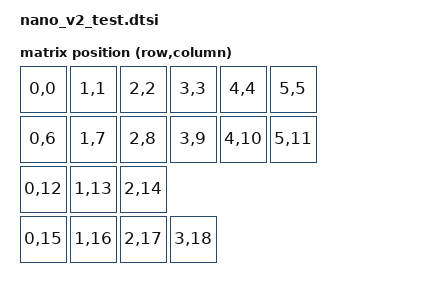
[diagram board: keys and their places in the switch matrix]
/*
 * Copyright (c) 2023 The ZMK Contributors
 *
 * SPDX-License-Identifier: MIT
 */

#include <dt-bindings/zmk/matrix_transform.h>
#include <dt-bindings/led/led.h>

/ {

    chosen {
        zmk,matrix-transform = &default_transform;
    };

    default_transform: keymap_transform_0 {
        compatible = "zmk,matrix-transform";
        columns = <19>;
        rows = <6>;
//	|0   |1   |2   |3   |4   |5   |
//	|6   |7   |8   |9   |A   |B   |
//	|C   |D   |E   |    |    |    |
//	|F   |G   |H   |I   |    |    |

        map = <
RC(0,0)  RC(1,1)  RC(2,2)  RC(3,3)  RC(4,4)  RC(5,5)  
RC(0,6)  RC(1,7)  RC(2,8)  RC(3,9)  RC(4,10) RC(5,11) 
RC(0,12) RC(1,13) RC(2,14)                            
RC(0,15) RC(1,16) RC(2,17) RC(3,18)                   

        >;
    };

};

